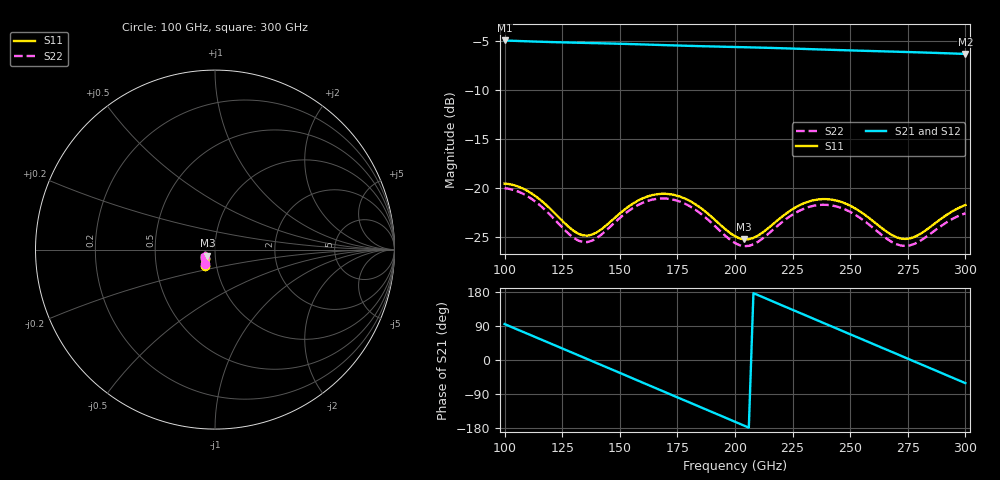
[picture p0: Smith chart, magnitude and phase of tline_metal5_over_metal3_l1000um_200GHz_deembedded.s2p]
! Created with skrf 2.0.1 (http://scikit-rf.org).
# GHz S DB R 50.0
!freq dBS11 angS11 dBS21 angS21 dBS12 angS12 dBS22 angS22
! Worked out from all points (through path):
!   101 points, 100 GHz to 300 GHz, reference 50 ohm
!   highest |S21| = -4.93 dB at 100 GHz (marker M1); lowest = -6.3 dB at 300 GHz (marker M2)
!   group delay of S21, straight-line fit = 7.17 ps
!   lowest |S11| = -25.3 dB at 204 GHz (marker M3), VSWR 1.12, Z = 45.8 - j3.1 ohm
!   |S11| at or under -10 dB: start of sweep to end of sweep
!   |S22| runs from -26.0 to -20.0 dB; largest |S21 - S12| = 6.4e-14
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100  -19.56 -121.1  -4.93 94.8  -4.93 94.8  -20.04 -124.2
108  -20.08 -132.3  -5.00 74.2  -5.00 74.2  -20.61 -135.6
116  -21.32 -140.8  -5.07 53.7  -5.07 53.7  -21.92 -144.2
126  -23.59 -142.6  -5.13 28.0  -5.13 28.0  -24.29 -145.7
134  -24.86 -133.1  -5.18 7.4  -5.18 7.4  -25.54 -135.5
142  -24.24 -121.7  -5.22 -13.3  -5.22 -13.3  -24.78 -124.0
150  -22.62 -119.1  -5.27 -34.0  -5.27 -34.0  -23.08 -122.1
160  -21.07 -126.0  -5.34 -59.8  -5.34 -59.8  -21.52 -129.9
168  -20.61 -135.0  -5.40 -80.5  -5.40 -80.5  -21.09 -139.5
182  -21.56 -150.0  -5.50 -116.6  -5.50 -116.6  -22.11 -155.3
192  -23.43 -153.9  -5.56 -142.3  -5.56 -142.3  -24.07 -159.5
200  -24.95 -147.8  -5.60 -163.0  -5.60 -163.0  -25.65 -153.2
204  -25.27 -141.8  -5.62 -173.3  -5.62 -173.3  -25.96 -147.0
218  -23.41 -127.6  -5.71 150.5  -5.71 150.5  -23.98 -133.3
234  -21.27 -137.1  -5.83 109.1  -5.83 109.1  -21.84 -144.0
242  -21.21 -145.2  -5.89 88.5  -5.89 88.5  -21.80 -152.5
250  -21.83 -152.3  -5.95 67.9  -5.95 67.9  -22.46 -160.1
260  -23.42 -156.0  -6.02 42.2  -6.02 42.2  -24.11 -164.2
268  -24.81 -151.1  -6.07 21.5  -6.07 21.5  -25.53 -159.5
276  -25.17 -140.0  -6.12 0.9  -6.12 0.9  -25.88 -148.7
284  -24.13 -131.7  -6.18 -19.8  -6.18 -19.8  -24.84 -141.0
300  -21.76 -135.3  -6.31 -61.0  -6.31 -61.0  -22.61 -146.1
